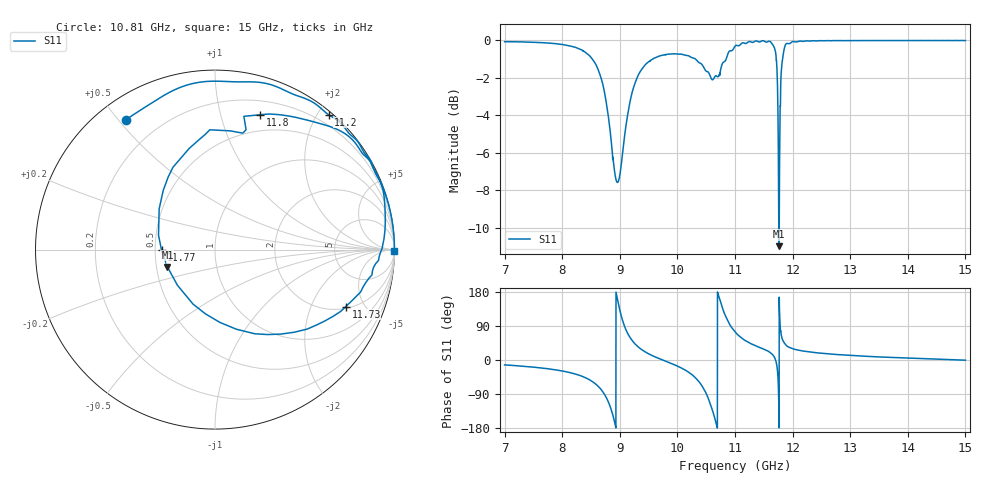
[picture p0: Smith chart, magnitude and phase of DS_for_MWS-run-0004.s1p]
! TOUCHSTONE file generated by CST DESIGN STUDIO
! Date and time: Mon Feb 10 16:55:49 2025
! Project name: C:\Work\MatlabApps\UnitCellType2OptimizationMatlab\CST\unitcell.cst
! Tree item: Tasks\Sweep1\SPara1\S-Parameters
! Header version: 2024
! Port assignment regex: !\s*Touchstone port\s*([0-9]+)\s*=\s*(CST MWS port|CST DES external port|CST DES block port)\s*(.+)\s* \(\"(.*)\"\)(\s*mode\s*([0-9]+))?.*
! Touchstone port assignment:
! Touchstone port 1 = CST DES external port 1 ("")
# GHz S MA R 50
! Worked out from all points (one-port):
!   4001 points, 7 GHz to 15 GHz, reference 50 ohm
!   lowest |S11| = -11.0 dB at 11.76 GHz (marker M1), VSWR 1.79, Z = 28.6 - j5.99 ohm
!   |S11| at or under -10 dB: 11.76055 GHz to 11.7674 GHz (6.85 MHz wide, 0.0582 % of centre)
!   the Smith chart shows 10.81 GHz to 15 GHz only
!   S11 on the Smith chart (normalised r, x): 10.81 GHz: 0.08, +0.52; 11.2 GHz: 0.05, +2.15; 11.73 GHz: 2.11, -3.65; 11.77 GHz: 0.54, -0.00; 11.8 GHz: 0.33, +1.34; 15 GHz: open
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7  0.9924 -13.0
8  0.9758 -29.0
8.432  0.9226 -48.8
8.702  0.7666 -83.2
8.88  0.4877 -146.2
9  0.4366 131.8
9.138  0.6351 69.8
9.37  0.8328 28.5
10  0.9198 -16.0
10.312  0.8924 -46.8
10.526  0.825 -97.4
10.604  0.7854 -130.8
10.68  0.8036 -171.7
10.812  0.877 124.4
11  0.9653 74.7
11.196  0.9826 49.9
11.666  0.9682 11.6
11.706  0.9235 -0.7
11.734  0.7952 -23.5
11.764  0.2821 -160.0
11.766  0.2978 -179.4
11.798  0.7928 71.4
11.818  0.8745 56.5
11.864  0.9628 43.3
12  0.9932 30.0
13  0.9988 12.1
14  0.9998 5.0
15  0.9992 -0.5
